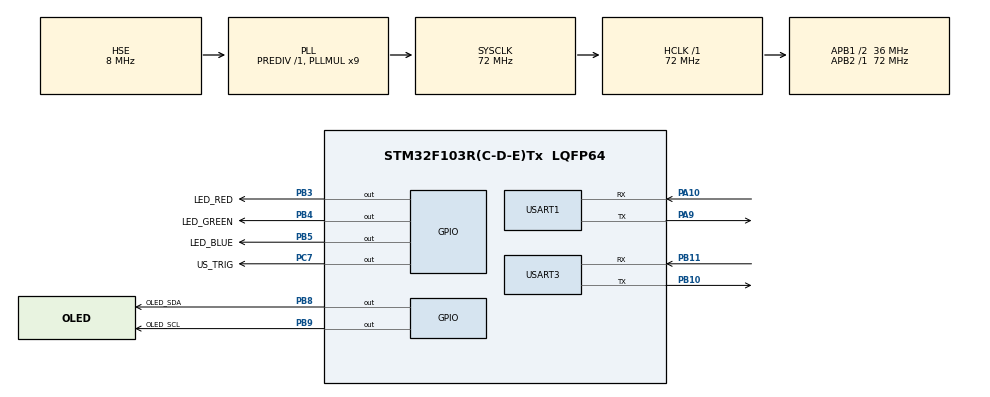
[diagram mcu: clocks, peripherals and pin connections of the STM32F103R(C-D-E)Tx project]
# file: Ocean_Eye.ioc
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Mcu.Family=STM32F1
Mcu.Name=STM32F103R(C-D-E)Tx
Mcu.Package=LQFP64
NVIC.PriorityGroup=NVIC_PRIORITYGROUP_4
NVIC.USART1_IRQn=true\:0\:0\:false\:false\:true\:true\:true\:true
NVIC.USART3_IRQn=true\:0\:0\:false\:false\:true\:true\:true\:true
PA10.Mode=Asynchronous
PA10.Signal=USART1_RX
PA13.Mode=Serial_Wire
PA13.Signal=SYS_JTMS-SWDIO
PA14.Mode=Serial_Wire
PA14.Signal=SYS_JTCK-SWCLK
PA9.Mode=Asynchronous
PA9.Signal=USART1_TX
PB10.Mode=Asynchronous
PB10.Signal=USART3_TX
PB11.Mode=Asynchronous
PB11.Signal=USART3_RX
PB3.GPIO_Label=LED_RED
PB3.Signal=GPIO_Output
PB4.GPIO_Label=LED_GREEN
PB4.Signal=GPIO_Output
PB5.GPIO_Label=LED_BLUE
PB5.Signal=GPIO_Output
PB8.GPIO_Label=OLED_SDA
PB8.GPIO_ModeDefaultOutputPP=GPIO_MODE_OUTPUT_OD
PB8.GPIO_PuPd=GPIO_NOPULL
PB8.PinState=GPIO_PIN_SET
PB8.Signal=GPIO_Output
PB9.GPIO_Label=OLED_SCL
PB9.GPIO_ModeDefaultOutputPP=GPIO_MODE_OUTPUT_OD
PB9.GPIO_PuPd=GPIO_NOPULL
PB9.PinState=GPIO_PIN_SET
PB9.Signal=GPIO_Output
PC7.GPIO_Label=US_TRIG
PC7.PinState=GPIO_PIN_SET
PC7.Signal=GPIO_Output
PD0-OSC_IN.Mode=HSE-External-Oscillator
PD0-OSC_IN.Signal=RCC_OSC_IN
PD1-OSC_OUT.Mode=HSE-External-Oscillator
PD1-OSC_OUT.Signal=RCC_OSC_OUT
ProjectManager.HeapSize=0x200
ProjectManager.StackSize=0x400
ProjectManager.TargetToolchain=MDK-ARM V5.32
RCC.AHBFreq_Value=72000000
RCC.APB1CLKDivider=RCC_HCLK_DIV2
RCC.APB1Freq_Value=36000000
RCC.APB1TimFreq_Value=72000000
RCC.APB2Freq_Value=72000000
RCC.APB2TimFreq_Value=72000000
RCC.HCLKFreq_Value=72000000
RCC.PLLMUL=RCC_PLL_MUL9
RCC.PLLSourceVirtual=RCC_PLLSOURCE_HSE
RCC.SYSCLKFreq_VALUE=72000000
RCC.SYSCLKSource=RCC_SYSCLKSOURCE_PLLCLK
RCC.USBFreq_Value=72000000
USART1.VirtualMode=VM_ASYNC
USART3.VirtualMode=VM_ASYNC
board=custom

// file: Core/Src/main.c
/* USER CODE BEGIN Header */
/**
  ******************************************************************************
  * @file           : main.c
  * @brief          : Main program body
  ******************************************************************************
  */
/* USER CODE END Header */
#include "main.h"

/* USER CODE BEGIN Includes */
#include <stdio.h>
#include <string.h>
#include "ssd1306.h"
#include "soft_i2c.h"
#include "ssd1306_fonts.h"
/* USER CODE END Includes */

UART_HandleTypeDef huart1;
UART_HandleTypeDef huart3;

/* USER CODE BEGIN PV */
#define LED_RED_PORT      GPIOB
#define LED_RED_PIN       GPIO_PIN_3

#define LED_GREEN_PORT    GPIOB
#define LED_GREEN_PIN     GPIO_PIN_4

#define LED_BLUE_PORT     GPIOB
#define LED_BLUE_PIN      GPIO_PIN_5

#define US_TRIG_PORT      GPIOC
#define US_TRIG_PIN       GPIO_PIN_7

uint8_t RxData;
uint8_t us_rx[8];
volatile uint16_t distance_mm = 0;
volatile uint8_t distance_ready = 0;
/* USER CODE END PV */

void SystemClock_Config(void);
static void MX_GPIO_Init(void);
static void MX_USART1_UART_Init(void);
static void MX_USART3_UART_Init(void);
/* USER CODE BEGIN PFP */
void LED_Set(uint8_t red, uint8_t green, uint8_t blue);
void Ultrasonic_Trigger(void);
void PC_SendText(char *text);
/* USER CODE END PFP */

/* USER CODE BEGIN 0 */
void LED_GPIO_Init(void)
{
    GPIO_InitTypeDef GPIO_InitStruct = {0};

    __HAL_RCC_GPIOB_CLK_ENABLE();

    GPIO_InitStruct.Pin = GPIO_PIN_3 | GPIO_PIN_4 | GPIO_PIN_5;
    GPIO_InitStruct.Mode = GPIO_MODE_OUTPUT_PP;
    GPIO_InitStruct.Pull = GPIO_NOPULL;
    GPIO_InitStruct.Speed = GPIO_SPEED_FREQ_LOW;

    HAL_GPIO_Init(GPIOB, &GPIO_InitStruct);

    HAL_GPIO_WritePin(GPIOB,
                      GPIO_PIN_3 | GPIO_PIN_4 | GPIO_PIN_5,
                      GPIO_PIN_RESET);
}

void LED_Set(uint8_t red, uint8_t green, uint8_t blue)
{
    HAL_GPIO_WritePin(LED_RED_PORT, LED_RED_PIN,
                      red ? GPIO_PIN_SET : GPIO_PIN_RESET);

    HAL_GPIO_WritePin(LED_GREEN_PORT, LED_GREEN_PIN,
                      green ? GPIO_PIN_SET : GPIO_PIN_RESET);

    HAL_GPIO_WritePin(LED_BLUE_PORT, LED_BLUE_PIN,
                      blue ? GPIO_PIN_SET : GPIO_PIN_RESET);
}

void Ultrasonic_Trigger(void)
{
    /* 对应传感器参考手册 */
    HAL_GPIO_WritePin(US_TRIG_PORT, US_TRIG_PIN, GPIO_PIN_RESET);
    HAL_Delay(1);
    HAL_GPIO_WritePin(US_TRIG_PORT, US_TRIG_PIN, GPIO_PIN_SET);
}

void PC_SendText(char *text)
{
    HAL_UART_Transmit(&huart1, (uint8_t *)text, strlen(text), 100);
}
/* USER CODE END 0 */

int main(void)
{

  /* MCU Configuration--------------------------------------------------------*/

  /* Reset of all peripherals, Initializes the Flash interface and the Systick. */
  HAL_Init();

  /* Configure the system clock */
  SystemClock_Config();

  /* Initialize all configured peripherals */
  MX_GPIO_Init();
  LED_GPIO_Init();

  MX_USART1_UART_Init();
  MX_USART3_UART_Init();
  HAL_UART_Receive_IT(&huart3, &us_rx[0], 1);

  /* 上电跑灯：红 -> 绿 -> 蓝 */
  LED_Set(1, 0, 0);
  HAL_Delay(300);

  LED_Set(0, 1, 0);
  HAL_Delay(300);

  LED_Set(0, 0, 1);
  HAL_Delay(300);

  LED_Set(0, 0, 0);
  PC_SendText("STM32 ready\r\n");

  /* USER CODE BEGIN 2 */
  HAL_UART_Receive_IT(&huart1, &RxData, 1);
  ssd1306_Init();
  ssd1306_Fill(Black);
  ssd1306_UpdateScreen();
  /* USER CODE END 2 */

  /* Infinite loop */
  while (1)
  {

    /* USER CODE BEGIN 3 */
    // 1. 触发超声波测距
    Ultrasonic_Trigger();
    HAL_Delay(50);

    // 2. 处理距离数据
    if (distance_ready)
    {
        distance_ready = 0;

        if (distance_mm == 65533)
        {
            // 异常情况：无回波 / 超量程
            PC_SendText("useless\r\n");
            ssd1306_SetCursor(0, 0);
            ssd1306_WriteString((char*)"useless        ", Font_11x18, White);
            ssd1306_UpdateScreen();
            LED_Set(1, 0, 0);   // 红灯
        }
        else
        {
            // 正常情况：有真实距离
            char msg[32];
            sprintf(msg, "Dist: %d mm\r\n", distance_mm);
            PC_SendText(msg);

            char oled_buf[24];
            sprintf(oled_buf, "Dist: %d mm    ", distance_mm);
            ssd1306_SetCursor(0, 0);
            ssd1306_WriteString(oled_buf, Font_11x18, White);
            ssd1306_UpdateScreen();

            // 距离控制红绿灯
            if (distance_mm < 60 ) {
            LED_Set(1, 0, 0);
            } else if (distance_mm <= 350) {
            LED_Set(0, 1, 0);  // 绿灯
            } else {
            LED_Set(1, 0, 0);  // 红灯
}
        }
    }
    else
    {
        // 没有任何数据时
        PC_SendText("No echo\r\n");
        ssd1306_SetCursor(0, 0);
        ssd1306_WriteString((char*)"No echo waiting", Font_11x18, White);
        ssd1306_UpdateScreen();
    }

    HAL_Delay(500);
    /* USER CODE END 3 */
  }
}

void SystemClock_Config(void)
{
  RCC_OscInitTypeDef RCC_OscInitStruct = {0};
  RCC_ClkInitTypeDef RCC_ClkInitStruct = {0};

  RCC_OscInitStruct.OscillatorType = RCC_OSCILLATORTYPE_HSE;
  RCC_OscInitStruct.HSEState = RCC_HSE_ON;
  RCC_OscInitStruct.HSEPredivValue = RCC_HSE_PREDIV_DIV1;
  RCC_OscInitStruct.HSIState = RCC_HSI_ON;
  RCC_OscInitStruct.PLL.PLLState = RCC_PLL_ON;
  RCC_OscInitStruct.PLL.PLLSource = RCC_PLLSOURCE_HSE;
  RCC_OscInitStruct.PLL.PLLMUL = RCC_PLL_MUL9;
  if (HAL_RCC_OscConfig(&RCC_OscInitStruct) != HAL_OK)
  {
    Error_Handler();
  }

  RCC_ClkInitStruct.ClockType = RCC_CLOCKTYPE_HCLK|RCC_CLOCKTYPE_SYSCLK
                              |RCC_CLOCKTYPE_PCLK1|RCC_CLOCKTYPE_PCLK2;
  RCC_ClkInitStruct.SYSCLKSource = RCC_SYSCLKSOURCE_PLLCLK;
  RCC_ClkInitStruct.AHBCLKDivider = RCC_SYSCLK_DIV1;
  RCC_ClkInitStruct.APB1CLKDivider = RCC_HCLK_DIV2;
  RCC_ClkInitStruct.APB2CLKDivider = RCC_HCLK_DIV1;

  if (HAL_RCC_ClockConfig(&RCC_ClkInitStruct, FLASH_LATENCY_2) != HAL_OK)
  {
    Error_Handler();
  }
}

static void MX_USART1_UART_Init(void)
{
  huart1.Instance = USART1;
  huart1.Init.BaudRate = 115200;
  huart1.Init.WordLength = UART_WORDLENGTH_8B;
  huart1.Init.StopBits = UART_STOPBITS_1;
  huart1.Init.Parity = UART_PARITY_NONE;
  huart1.Init.Mode = UART_MODE_TX_RX;
  huart1.Init.HwFlowCtl = UART_HWCONTROL_NONE;
  huart1.Init.OverSampling = UART_OVERSAMPLING_16;
  if (HAL_UART_Init(&huart1) != HAL_OK)
  {
    Error_Handler();
  }
}

static void MX_USART3_UART_Init(void)
{
  huart3.Instance = USART3;
  huart3.Init.BaudRate = 115200;
  huart3.Init.WordLength = UART_WORDLENGTH_8B;
  huart3.Init.StopBits = UART_STOPBITS_1;
  huart3.Init.Parity = UART_PARITY_NONE;
  huart3.Init.Mode = UART_MODE_TX_RX;
  huart3.Init.HwFlowCtl = UART_HWCONTROL_NONE;
  huart3.Init.OverSampling = UART_OVERSAMPLING_16;
  if (HAL_UART_Init(&huart3) != HAL_OK)
  {
    Error_Handler();
  }
}

static void MX_GPIO_Init(void)
{
  GPIO_InitTypeDef GPIO_InitStruct = {0};

  /* GPIO Ports Clock Enable */
  __HAL_RCC_GPIOD_CLK_ENABLE();
  __HAL_RCC_GPIOB_CLK_ENABLE();
  __HAL_RCC_GPIOC_CLK_ENABLE();
  __HAL_RCC_GPIOA_CLK_ENABLE();

  /*Configure GPIO pin Output Level */
  HAL_GPIO_WritePin(US_TRIG_GPIO_Port, US_TRIG_Pin, GPIO_PIN_SET);

  /*Configure GPIO pin Output Level */
  HAL_GPIO_WritePin(GPIOB, LED_RED_Pin|LED_GREEN_Pin|LED_BLUE_Pin, GPIO_PIN_RESET);

  /*Configure GPIO pin Output Level */
  HAL_GPIO_WritePin(GPIOB, OLED_SDA_Pin|OLED_SCL_Pin, GPIO_PIN_SET);

  /*Configure GPIO pin : US_TRIG_Pin */
  GPIO_InitStruct.Pin = US_TRIG_Pin;
  GPIO_InitStruct.Mode = GPIO_MODE_OUTPUT_PP;
  GPIO_InitStruct.Pull = GPIO_NOPULL;
  GPIO_InitStruct.Speed = GPIO_SPEED_FREQ_LOW;
  HAL_GPIO_Init(US_TRIG_GPIO_Port, &GPIO_InitStruct);

  /*Configure GPIO pins : LED_RED_Pin LED_GREEN_Pin LED_BLUE_Pin */
  GPIO_InitStruct.Pin = LED_RED_Pin|LED_GREEN_Pin|LED_BLUE_Pin;
  GPIO_InitStruct.Mode = GPIO_MODE_OUTPUT_PP;
  GPIO_InitStruct.Pull = GPIO_NOPULL;
  GPIO_InitStruct.Speed = GPIO_SPEED_FREQ_LOW;
  HAL_GPIO_Init(GPIOB, &GPIO_InitStruct);

  /*Configure GPIO pins : OLED_SDA_Pin OLED_SCL_Pin */
  GPIO_InitStruct.Pin = OLED_SDA_Pin|OLED_SCL_Pin;
  GPIO_InitStruct.Mode = GPIO_MODE_OUTPUT_OD;
  GPIO_InitStruct.Pull = GPIO_NOPULL;
  GPIO_InitStruct.Speed = GPIO_SPEED_FREQ_LOW;
  HAL_GPIO_Init(GPIOB, &GPIO_InitStruct);
}

/* USER CODE BEGIN 4 */
void HAL_UART_RxCpltCallback(UART_HandleTypeDef *huart)
{
    if (huart->Instance == USART3)
    {
        static uint8_t rx_buf[8];
        static uint8_t rx_cnt = 0;

        rx_buf[rx_cnt++] = us_rx[0];

        // 判断帧头
        if (rx_cnt == 1) {
            if (rx_buf[0] != 0xFF) {
                rx_cnt = 0;  // 非法帧头，清空
            }
        }

        // 距离帧（4字节：FF Data_H Data_L SUM）
        if (rx_buf[0] == 0xFF && rx_cnt >= 4) {
            uint8_t sum = (uint8_t)(rx_buf[0] + rx_buf[1] + rx_buf[2]);
            if (sum == rx_buf[3]) {
                distance_mm = ((uint16_t)rx_buf[1] << 8) | rx_buf[2];
                distance_ready = 1;
            }
            rx_cnt = 0;
        }

        // 防止溢出
        if (rx_cnt >= 8) rx_cnt = 0;

        HAL_UART_Receive_IT(&huart3, &us_rx[0], 1);
    }

    if (huart->Instance == USART1)
    {
        char debug[32];
        sprintf(debug, "RX: %c\r\n", RxData);
        PC_SendText(debug);

        if (RxData == '1') // 识别到垃圾
        {
            HAL_GPIO_WritePin(GPIOB, GPIO_PIN_4, GPIO_PIN_RESET); // 绿灯亮
            HAL_GPIO_WritePin(GPIOB, GPIO_PIN_3, GPIO_PIN_SET);   // 红灯灭
        }
        else if (RxData == '0') // 没识别到垃圾
        {
            HAL_GPIO_WritePin(GPIOB, GPIO_PIN_4, GPIO_PIN_SET);   // 绿灯灭
            HAL_GPIO_WritePin(GPIOB, GPIO_PIN_3, GPIO_PIN_RESET); // 红灯亮
        }

        HAL_UART_Receive_IT(&huart1, &RxData, 1);
    }
}
/* USER CODE END 4 */

void Error_Handler(void)
{
  /* USER CODE BEGIN Error_Handler_Debug */
  __disable_irq();
  while (1)
  {
    HAL_GPIO_WritePin(GPIOB, GPIO_PIN_3 | GPIO_PIN_4 | GPIO_PIN_5, GPIO_PIN_RESET);
    HAL_Delay(500);

    HAL_GPIO_WritePin(GPIOB, GPIO_PIN_3, GPIO_PIN_SET);
    HAL_Delay(500);
    HAL_GPIO_WritePin(GPIOB, GPIO_PIN_3, GPIO_PIN_RESET);

    HAL_GPIO_WritePin(GPIOB, GPIO_PIN_4, GPIO_PIN_SET);
    HAL_Delay(500);
    HAL_GPIO_WritePin(GPIOB, GPIO_PIN_4, GPIO_PIN_RESET);

    HAL_GPIO_WritePin(GPIOB, GPIO_PIN_5, GPIO_PIN_SET);
    HAL_Delay(500);
    HAL_GPIO_WritePin(GPIOB, GPIO_PIN_5, GPIO_PIN_RESET);
  }
  /* USER CODE END Error_Handler_Debug */
}
